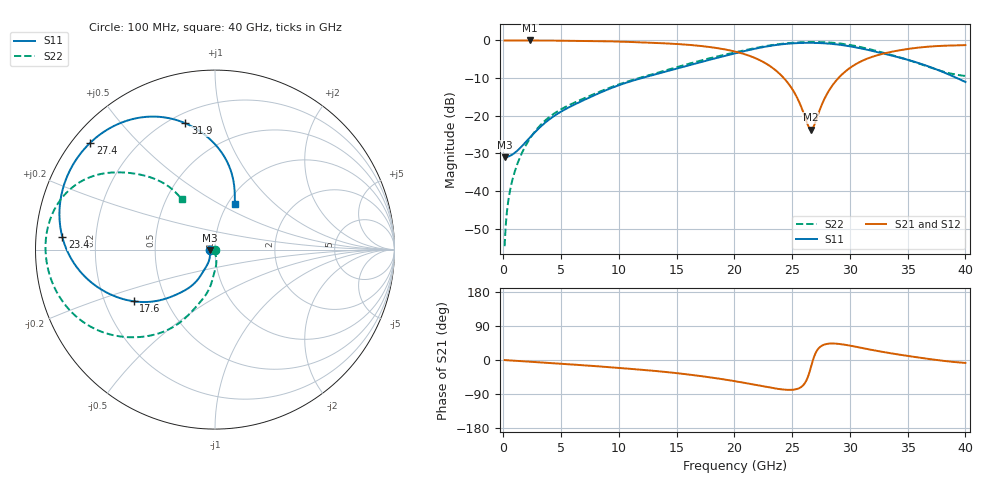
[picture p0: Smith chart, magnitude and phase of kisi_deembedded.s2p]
! B_ts6_L1L3_stub: kisi-fdtd, de-embedded with the 2×thru
# Hz S RI R 50
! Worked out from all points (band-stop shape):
!   400 points, 100 MHz to 40 GHz, reference 50 ohm
!   highest |S21| = -0.08 dB at 2.3 GHz (marker M1); lowest = -23.7 dB at 26.6 GHz (marker M2)
!   |S21| within 3 dB of the highest: start of sweep to 20.13 GHz; 33.61 GHz to end of sweep
!   lowest |S11| = -31.0 dB at 100 MHz (marker M3), VSWR 1.06, Z = 47.3 - j0.154 ohm
!   |S11| at or under -10 dB: start of sweep to 12.02 GHz; 39.24 GHz to end of sweep
!   |S22| runs from -54.5 to -0.5 dB; largest |S21 - S12| = 0.0029
!   S11 on the Smith chart (normalised r, x): 100 MHz: 0.95, -0.00; 17.6 GHz: 0.32, -0.26; 23.4 GHz: 0.08, +0.04; 27.4 GHz: 0.05, +0.37; 31.9 GHz: 0.26, +0.76; 40 GHz: 1.08, +0.60
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1e8  -0.028 -0.00163  0.9887 -0.00323  0.9872 -0.00308  -0.000641 -0.00176
2e8  -0.028 -0.00326  0.9887 -0.00646  0.9872 -0.00616  -0.000561 -0.00353
3e8  -0.028 -0.0049  0.9887 -0.0097  0.9873 -0.00924  -0.000429 -0.00531
7e8  -0.0278 -0.0116  0.9888 -0.0227  0.9877 -0.0218  0.000578 -0.0127
1.4e9  -0.0276 -0.0242  0.9889 -0.0462  0.9887 -0.0448  0.00358 -0.0271
2.3e9  -0.029 -0.0427  0.9876 -0.0779  0.9886 -0.0769  0.00718 -0.0495
4.1e9  -0.0422 -0.0822  0.9767 -0.1417  0.9773 -0.1427  0.00374 -0.0993
6.8e9  -0.0753 -0.1374  0.9501 -0.2304  0.9494 -0.2299  -0.0137 -0.1646
1.34e10  -0.2466 -0.2637  0.7956 -0.453  0.7954 -0.4526  -0.1322 -0.3481
1.76e10  -0.4534 -0.288  0.5847 -0.5754  0.5845 -0.5757  -0.3138 -0.467
2.01e10  -0.6334 -0.2224  0.3913 -0.5845  0.3913 -0.5842  -0.4906 -0.4876
2.34e10  -0.8509 0.071  0.1116 -0.4031  0.1115 -0.4034  -0.7911 -0.3564
2.51e10  -0.8553 0.3076  0.0432 -0.209  0.0429 -0.2089  -0.9061 -0.1845
2.66e10  -0.7696 0.5072  0.0611 -0.024  0.0612 -0.0236  -0.9441 -0.00427
2.67e10  -0.7612 0.5192  0.0649 -0.0121  0.065 -0.0117  -0.9443 0.00796
2.74e10  -0.6944 0.5959  0.1001 0.0677  0.1004 0.0679  -0.9377 0.0927
2.82e10  -0.6038 0.6662  0.1578 0.1483  0.1582 0.1482  -0.912 0.1853
2.92e10  -0.4771 0.7224  0.2518 0.2257  0.252 0.2253  -0.8537 0.2871
3.19e10  -0.1648 0.7037  0.5357 0.2685  0.5352 0.269  -0.6137 0.4252
3.34e10  -0.0515 0.6351  0.6554 0.2184  0.6561 0.2191  -0.4882 0.4282
3.69e10  0.0898 0.4345  0.8216 0.035  0.8201 0.0344  -0.2599 0.353
4e10  0.111 0.2565  0.8516 -0.1161  0.8543 -0.115  -0.1827 0.2816
